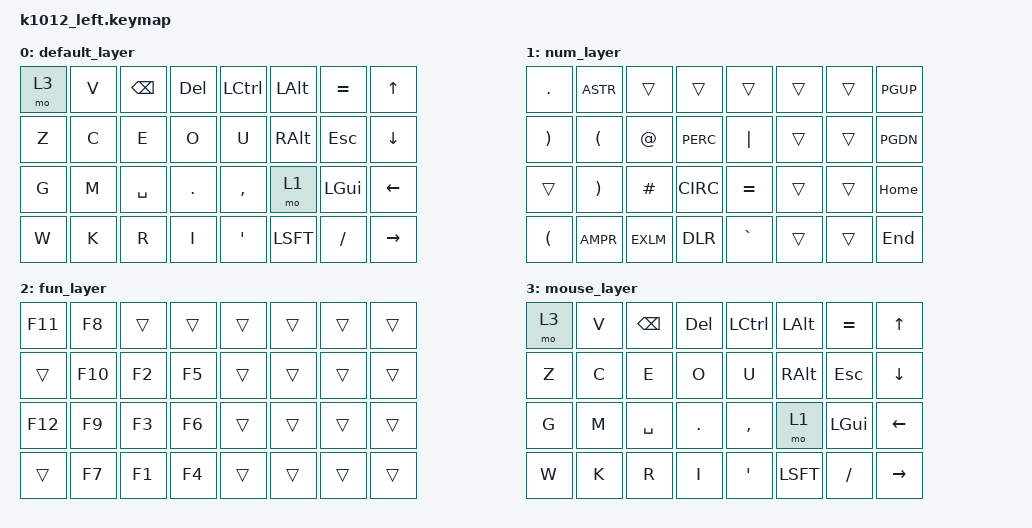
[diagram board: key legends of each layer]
/dts-v1/;
#include <behaviors.dtsi>
#include <dt-bindings/zmk/keys.h>
#include <dt-bindings/zmk/mouse.h>

/ {
    keymap {
        compatible = "zmk,keymap";
        label = "K1012 Default Keymap";

        default_layer {  // Layer 0 - BASE
            bindings = <
                &mo 3 &kp V &kp BSPC &kp DEL &kp LCTRL &kp LALT &kp EQUAL &kp UP
                &kp Z &kp C &kp E &kp O &kp U &kp RALT &kp ESC &kp DOWN
                &kp G &kp M &kp SPC &kp DOT &kp COMMA &mo 1 &kp LGUI &kp LEFT
                &kp W &kp K &kp R &kp I &kp QUOT &kp LSFT &kp SLASH &kp RIGHT
            >;
        };

        num_layer {  // Layer 1 - NUM
            bindings = <
                &kp DOT &kp ASTR &trans &trans &trans &trans &trans &kp PGUP
                &kp RPRN &kp LPRN &kp AT &kp PERC &kp PIPE &trans &trans &kp PGDN
                &trans &kp RPRN &kp HASH &kp CIRC &kp EQUAL &trans &trans &kp HOME
                &kp LPRN &kp AMPR &kp EXLM &kp DLR &kp GRAVE &trans &trans &kp END
            >;
        };

        fun_layer {  // Layer 2 - FUN
            bindings = <
                &kp F11 &kp F8 &trans &trans &trans &trans &trans &trans
                &trans &kp F10 &kp F2 &kp F5 &trans &trans &trans &trans
                &kp F12 &kp F9 &kp F3 &kp F6 &trans &trans &trans &trans
                &trans &kp F7 &kp F1 &kp F4 &trans &trans &trans &trans
            >;
        };

        mouse_layer {  // Layer 3 - MS
            bindings = <
                &mo 3 &kp V &kp BSPC &kp DEL &kp LCTRL &kp LALT &kp EQUAL &kp UP
                &kp Z &kp C &kp E &kp O &kp U &kp RALT &kp ESC &kp DOWN
                &kp G &kp M &kp SPC &kp DOT &kp COMMA &mo 1 &kp LGUI &kp LEFT
                &kp W &kp K &kp R &kp I &kp QUOT &kp LSFT &kp SLASH &kp RIGHT
            >;
        };
    };
};
